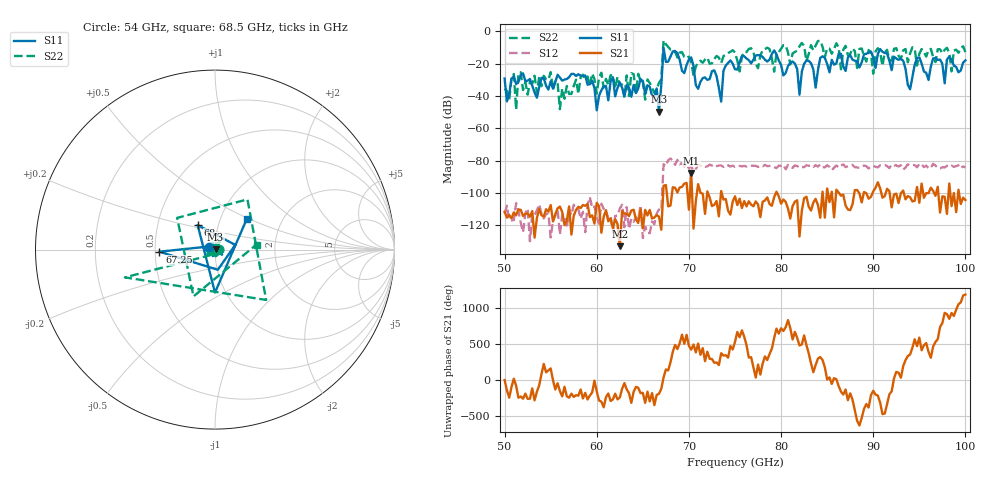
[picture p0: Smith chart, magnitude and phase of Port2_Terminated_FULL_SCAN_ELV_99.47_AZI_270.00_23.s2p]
! 11/25/2026 1:48:45 PM
! C:\ANRITSUVNA\TEMP\TEMP.S2P
! CHANNEL.1
! TR.MEASUREMENT
! RAW.DATA
# HZ S RI R 50.0
! FREQ.HZ  S11RE  S11IM  S21RE  S21IM  S12RE  S12IM  S22RE  S22IM
!; PortSelection: Port_12
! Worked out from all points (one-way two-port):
!   201 points, 50 GHz to 100 GHz, reference 50 ohm
!   highest |S21| = -87.74 dB at 70.25 GHz (marker M1); lowest = -133.0 dB at 62.5 GHz (marker M2)
!   lowest |S11| = -49.7 dB at 66.75 GHz (marker M3), VSWR 1.01, Z = 50.3 + j0.0704 ohm
!   |S11| at or under -10 dB: start of sweep to end of sweep
!   |S22| runs from -48.4 to -5.6 dB; largest |S21 - S12| = 0.00012
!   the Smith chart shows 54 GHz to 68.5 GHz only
!   S11 on the Smith chart (normalised r, x): 54 GHz: 0.93, +0.03; 67.25 GHz: 0.53, -0.01; 68 GHz: 0.80, +0.22; 68.5 GHz: 1.33, +0.49
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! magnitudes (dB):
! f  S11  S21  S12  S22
! 50 GHz  -29.1  -111.7  -113.0  -35.5
! 54 GHz  -28.7  -113.8  -112.8  -33.9
! 55 GHz  -30.9  -107.6  -127.7  -25.2
! 56 GHz  -28.6  -108.5  -125.9  -48.2
! 58.5 GHz  -27.7  -107.5  -111.7  -26.8
! 60 GHz  -48.8  -106.2  -115.2  -38.5
! 62.5 GHz  -31.5  -133.0  -109.7  -33.5
! 66.75 GHz  -49.7  -114.7  -110.3  -31.9
! 67.25 GHz  -10.2  -95.6  -82.2  -5.6
! 68 GHz  -15.5  -107.9  -78.7  -11.2
! 68.5 GHz  -12.1  -96.9  -82.6  -12.6
! 70.25 GHz  -16.1  -87.7  -83.5  -19.1
! 73.5 GHz  -43.4  -98.8  -83.0  -19.6
! 73.75 GHz  -24.4  -104.2  -83.9  -15.3
! 75 GHz  -23.5  -102.1  -83.9  -13.0
! 79.25 GHz  -11.8  -102.6  -84.0  -24.9
! 82 GHz  -39.2  -127.0  -84.3  -9.2
! 83.5 GHz  -23.5  -106.0  -84.0  -11.7
! 91.75 GHz  -18.1  -98.9  -84.7  -17.5
! 94 GHz  -35.8  -102.7  -83.1  -13.7
! 94.75 GHz  -16.5  -96.3  -84.2  -21.2
! 100 GHz  -17.9  -104.4  -84.2  -12.8
